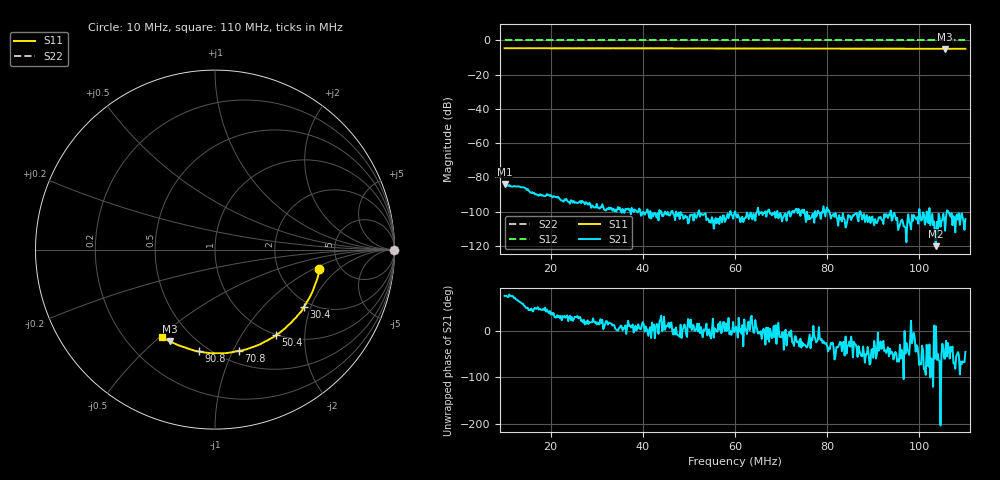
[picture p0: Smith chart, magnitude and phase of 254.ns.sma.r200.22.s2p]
! Anritsu VNA Master:  Model: MS2036C/10/77
! SN:  1601066
! /card0/usr/254.ns.sma.r200.22.s2p
! Existing Calibration Information:
! TYPE:  Current Settings,  Active Cal Settings
! TIME:  12/20/2017 01:54:14 PM,  12/20/2017 01:40:30 PM
! INTERNAL TEMP:  47.0 C,  46.0 C
! # POINTS:  501,  501
! START FREQ:  10.000 MHz,  10.000 MHz
! STOP FREQ:  110.000 MHz,  110.000 MHz
! SOURCE POWER:  High,  High
! IFBW:  100 Hz,  100 Hz
! AVG FACTOR:  1 ,  1
! REF PLANE 1:  0 mm,  0 mm
! REF PLANE 2:  0 mm,  0 mm
! CAL TYPE:  Full S11,  Full S11
! CAL METHOD:  SOLT,  SOLT
! CAL LINE TYPE:  Coax,  Coax
! DUT PORT 1:  N-Conn(F),  N-Conn(F)
! DUT PORT 2:  K-Conn(F),  K-Conn(F)
! CAL STATUS:  OK: Accuracy High,  --
# GHZ S DB R 50.0
! FREQ.GHZ  S11DB  S11A  S21DB  S21A  S12DB  S12A  S22DB  S22A
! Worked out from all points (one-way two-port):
!   501 points, 10 MHz to 110 MHz, reference 50 ohm
!   highest |S21| = -83.83 dB at 10 MHz (marker M1); lowest = -120.1 dB at 103.6 MHz (marker M2)
!   lowest |S11| = -4.9 dB at 105.6 MHz (marker M3), VSWR 3.64, Z = 18.5 - j27.9 ohm
!   |S11| at or under -10 dB: nowhere
!   |S22| runs from 0.0 to 0.0 dB; largest |S21 - S12| = 1
!   S11 on the Smith chart (normalised r, x): 10 MHz: 3.47, -1.18; 30.4 MHz: 1.83, -1.79; 50.4 MHz: 0.99, -1.44; 70.8 MHz: 0.62, -1.05; 90.8 MHz: 0.44, -0.75; 110 MHz: 0.35, -0.51
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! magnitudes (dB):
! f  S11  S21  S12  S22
! 10 MHz  -4.6  -83.8  0.0  0.0
! 14.2 MHz  -4.5  -85.9  0.0  0.0
! 26.8 MHz  -4.6  -93.6  0.0  0.0
! 30.4 MHz  -4.6  -97.8  0.0  0.0
! 33.2 MHz  -4.6  -97.9  0.0  0.0
! 38.8 MHz  -4.6  -100.4  0.0  0.0
! 40.6 MHz  -4.6  -100.6  0.0  0.0
! 43.4 MHz  -4.6  -105.1  0.0  0.0
! 50.4 MHz  -4.6  -102.2  0.0  0.0
! 56.6 MHz  -4.7  -107.2  0.0  0.0
! 60 MHz  -4.7  -99.8  0.0  0.0
! 64.6 MHz  -4.7  -100.7  0.0  0.0
! 67 MHz  -4.7  -100.2  0.0  0.0
! 70.8 MHz  -4.7  -101.1  0.0  0.0
! 72.2 MHz  -4.8  -101.6  0.0  0.0
! 76.8 MHz  -4.7  -101.5  0.0  0.0
! 90.8 MHz  -4.8  -106.7  0.0  0.0
! 93.4 MHz  -4.8  -101.6  0.0  0.0
! 97.6 MHz  -4.9  -101.6  0.0  0.0
! 103.6 MHz  -4.9  -120.1  0.0  0.0
! 105.6 MHz  -4.9  -111.1  0.0  0.0
! 110 MHz  -4.9  -104.3  0.0  0.0
